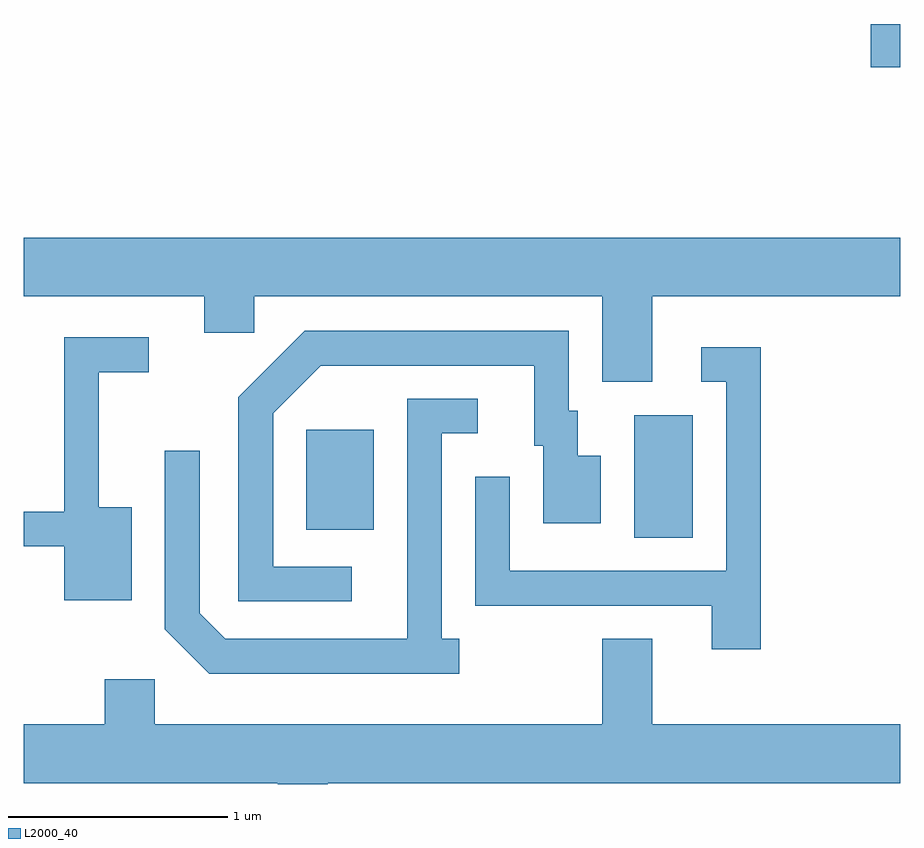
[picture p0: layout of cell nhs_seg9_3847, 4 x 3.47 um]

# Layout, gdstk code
import gdstk
lib = gdstk.Library(unit=1e-6, precision=1e-09)
def R(c, l, rs):  # rectangles x0, y0, x1, y1
    for r in rs: c.add(gdstk.rectangle(r[:2], r[2:], *l))
def P(c, l, *ps):  # polygons
    for p in ps: c.add(gdstk.Polygon(p, *l))
L2000_40 = (2000, 40)

nhs_seg9_3847 = lib.new_cell('nhs_seg9_3847')
R(nhs_seg9_3847, L2000_40, [(300.396,2039.556,300.664,2040.114), (298.901,2039.591,299.209,2040.049), (301.476,2041.701,301.611,2041.899)])
P(nhs_seg9_3847, L2000_40, [(300.479,2040.656),(301.611,2040.656),(301.611,2040.924),(297.611,2040.924),(297.611,2040.656),(298.436,2040.656),(298.436,2040.491),(298.664,2040.491),(298.664,2040.656),(300.251,2040.656),(300.251,2040.266),(300.479,2040.266)],
  [(299.108,2039.424),(298.749,2039.424),(298.749,2040.124),(298.967,2040.341),(299.941,2040.341),(299.941,2039.976),(299.981,2039.976),(299.981,2039.621),(300.244,2039.621),(300.244,2039.929),(300.139,2039.929),(300.139,2040.134),(300.099,2040.134),(300.099,2040.499),(298.894,2040.499),(298.591,2040.197),(298.591,2039.266),(299.108,2039.266)],
  [(298.104,2039.694),(297.954,2039.694),(297.954,2040.311),(298.183,2040.311),(298.183,2040.469),(297.796,2040.469),(297.796,2039.674),(297.611,2039.674),(297.611,2039.516),(297.796,2039.516),(297.796,2039.271),(298.104,2039.271)],
  [(300.974,2040.424),(300.703,2040.424),(300.703,2040.266),(300.816,2040.266),(300.816,2039.404),(299.829,2039.404),(299.829,2039.833),(299.671,2039.833),(299.671,2039.246),(300.751,2039.246),(300.751,2039.046),(300.974,2039.046)],
  [(299.598,2039.094),(299.519,2039.094),(299.519,2040.031),(299.683,2040.031),(299.683,2040.189),(299.361,2040.189),(299.361,2039.094),(298.532,2039.094),(298.414,2039.212),(298.414,2039.953),(298.256,2039.953),(298.256,2039.139),(298.459,2038.936),(299.598,2038.936)],
  [(298.999,2038.436),(301.611,2038.436),(301.611,2038.704),(300.479,2038.704),(300.479,2039.094),(300.251,2039.094),(300.251,2038.704),(298.209,2038.704),(298.209,2038.909),(297.981,2038.909),(297.981,2038.704),(297.611,2038.704),(297.611,2038.436),(298.771,2038.436),(298.771,2038.432),(298.999,2038.432)])

lib.write_gds('nhs_seg9_3847.gds')
